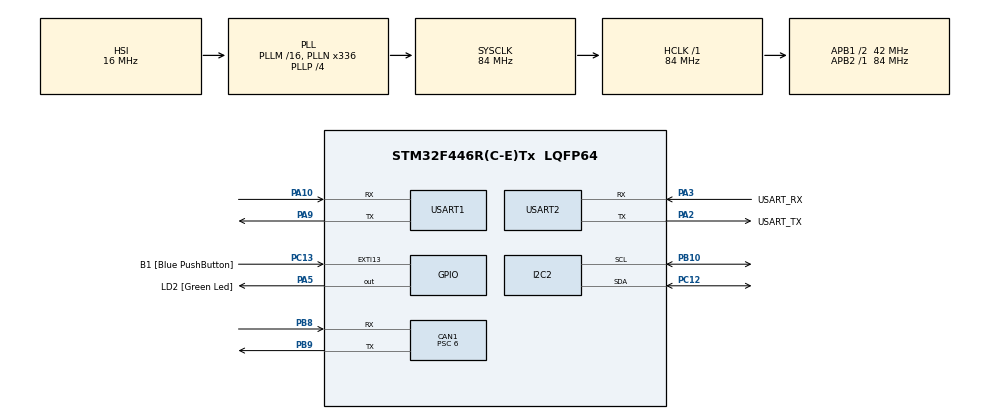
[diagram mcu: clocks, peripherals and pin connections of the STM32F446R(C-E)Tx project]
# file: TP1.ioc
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CAN1.BS1=CAN_BS1_11TQ
CAN1.BS2=CAN_BS2_2TQ
CAN1.CalculateBaudRate=500000
CAN1.CalculateTimeBit=2000
CAN1.CalculateTimeQuantum=142.85714285714286
CAN1.Prescaler=6
Mcu.Family=STM32F4
Mcu.Name=STM32F446R(C-E)Tx
Mcu.Package=LQFP64
NVIC.PriorityGroup=NVIC_PRIORITYGROUP_0
NVIC.USART1_IRQn=true\:0\:0\:false\:false\:true\:true\:true\:true
PA10.Mode=Asynchronous
PA10.Signal=USART1_RX
PA13.GPIO_Label=TMS
PA13.Mode=Serial_Wire
PA13.Signal=SYS_JTMS-SWDIO
PA14.GPIO_Label=TCK
PA14.Mode=Serial_Wire
PA14.Signal=SYS_JTCK-SWCLK
PA2.GPIO_Label=USART_TX
PA2.Mode=Asynchronous
PA2.Signal=USART2_TX
PA3.GPIO_Label=USART_RX
PA3.Mode=Asynchronous
PA3.Signal=USART2_RX
PA5.GPIO_Label=LD2 [Green Led]
PA5.Signal=GPIO_Output
PA9.Mode=Asynchronous
PA9.Signal=USART1_TX
PB10.Mode=I2C
PB10.Signal=I2C2_SCL
PB3.GPIO_Label=SWO
PB3.Signal=SYS_JTDO-SWO
PB8.Mode=CAN_Activate
PB8.Signal=CAN1_RX
PB9.Mode=CAN_Activate
PB9.Signal=CAN1_TX
PC12.Mode=I2C
PC12.Signal=I2C2_SDA
PC13.GPIO_Label=B1 [Blue PushButton]
PC13.GPIO_ModeDefaultEXTI=GPIO_MODE_IT_FALLING
PC13.Signal=GPXTI13
PC14-OSC32_IN.Mode=LSE-External-Oscillator
PC14-OSC32_IN.Signal=RCC_OSC32_IN
PC15-OSC32_OUT.Mode=LSE-External-Oscillator
PC15-OSC32_OUT.Signal=RCC_OSC32_OUT
PH0-OSC_IN.Mode=HSE-External-Oscillator
PH0-OSC_IN.Signal=RCC_OSC_IN
PH1-OSC_OUT.Mode=HSE-External-Oscillator
PH1-OSC_OUT.Signal=RCC_OSC_OUT
ProjectManager.HeapSize=0x200
ProjectManager.StackSize=0x400
ProjectManager.TargetToolchain=STM32CubeIDE
RCC.48MHZClocksFreq_Value=84000000
RCC.AHBFreq_Value=84000000
RCC.APB1CLKDivider=RCC_HCLK_DIV2
RCC.APB1Freq_Value=42000000
RCC.APB1TimFreq_Value=84000000
RCC.APB2Freq_Value=84000000
RCC.APB2TimFreq_Value=84000000
RCC.CortexFreq_Value=84000000
RCC.FLatency-AdvancedSettings=FLASH_LATENCY_2
RCC.HCLKFreq_Value=84000000
RCC.HSE_VALUE=8000000
RCC.HSI_VALUE=16000000
RCC.PLLN=336
RCC.PLLP=RCC_PLLP_DIV4
RCC.SYSCLKFreq_VALUE=84000000
RCC.SYSCLKSource=RCC_SYSCLKSOURCE_PLLCLK
RCC.USBFreq_Value=168000000
RCC.VCOOutputFreq_Value=336000000
USART1.VirtualMode=VM_ASYNC
USART2.VirtualMode=VM_ASYNC
board=NUCLEO-F446RE

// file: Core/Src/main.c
/* USER CODE BEGIN Header */
/**
 ******************************************************************************
 * @file           : main.c
 * @brief          : Main program body
 ******************************************************************************
 * @attention
 *
 * Copyright (c) 2024 STMicroelectronics.
 * All rights reserved.
 *
 * This software is licensed under terms that can be found in the LICENSE file
 * in the root directory of this software component.
 * If no LICENSE file comes with this software, it is provided AS-IS.
 *
 ******************************************************************************
 */
/* USER CODE END Header */
#include "main.h"
#include "can.h"
#include "i2c.h"
#include "usart.h"
#include "gpio.h"

/* USER CODE BEGIN Includes */
#include "BMP280.h"
//#include "MPU9250.h"
#include "string.h"
#include <stdlib.h>
#include <math.h>
#include <stdio.h>
/* USER CODE END Includes */

/* USER CODE BEGIN PD */
#define size_Calib 26
#define MAX_BUFFER_SIZE 100
#define BUFFER_SIZE 64
/* USER CODE END PD */

/* USER CODE BEGIN PV */

char rxBuffer[MAX_BUFFER_SIZE];
char spr_buffer[50];
CAN_TxHeaderTypeDef TxHeader;
uint8_t adresse = 0x77 << 1;
uint8_t data[2];
int16_t x, y, z;
int Tempinit = 26 ;
uint8_t TxData[8]; // Tableau de données pour envoyer des instructions au moteur
uint8_t angle;
uint8_t rxData;
uint8_t data_Calib[size_Calib];
uint8_t buffer[1];
int8_t Val_temp;
//uint8_t Registre = 0xD0;
uint8_t Registre_Masc = 0xF4;
HAL_StatusTypeDef status;
int32_t coefficientK=1 ;
uint32_t TxMailbox;
uint16_t rxIndex = 0;
//char rx_buffer[BUFFER_SIZE];
//volatile uint8_t rx_index = 0;
extern UART_HandleTypeDef huart1;
char command_buffer[BUFFER_SIZE];
char response_buffer[64]; // Pour stocker la réponse à envoyer

#define RX_BUFFER_SIZE 20
volatile char rx_buffer[RX_BUFFER_SIZE]; // Buffer de réception
volatile uint8_t rx_index = 0;           // Index pour remplir le buffer
//uint8_t BMP280_TRIM_REG_MSB = 0x88;
//uint8_t BMP280_TEMP_REG_MSB = 0xFA;
//uint8_t BMP280_PRES_REG_MSB = 0xF7;
/*
uint8_t buffer[1];
HAL_StatusTypeDef status;

uint8_t buf[3];
int32_t  compensatePressure;
uint8_t tab[3];
int32_t Temp, compensateTemperature;

uint8_t data_Calib[size_Calib];
uint8_t data[2];
int16_t x, y, z;

 */
// Configure le registre de contrôle (BMP280_CTRL_MEAS_REG)

/* USER CODE END PV */

void SystemClock_Config(void);

/* USER CODE BEGIN 0 */

//***********Code ACCELEROMETRE**************
void MPU9250_Init() {
	uint8_t  MPU9250_data[2];
	MPU9250_data[0] = 0x6B;     // PWR_MGMT_1
	MPU9250_data[1] = 0x00;     // Activation du  capteur
	// Adresse I2C du MPU= 0x68
	HAL_I2C_Master_Transmit(&hi2c2, 0x68 << 1, data, 2, HAL_MAX_DELAY);

	// Configurer la plage d'accélération à ±4g
	MPU9250_data[0] = 0x1C;     // Adresse du registre ACCEL_CONFIG
	MPU9250_data[1] = 0x08;     // Réglage de la plage à ±4g
	HAL_I2C_Master_Transmit(&hi2c2, 0x68<< 1, data, 2, HAL_MAX_DELAY);
}

void MPU9250_Data(int16_t *x, int16_t *y, int16_t *z) {

	uint8_t reg_ACCEL_XOUT_H = 0x3B;
	uint8_t data_read[6];

	// Envoyer l'adresse du registre de départ
	HAL_I2C_Master_Transmit(&hi2c2, 0x68<< 1, &reg_ACCEL_XOUT_H, 1, HAL_MAX_DELAY);

	// Recevoir les 6 octets de données des axes X, Y, Z
	HAL_I2C_Master_Receive(&hi2c2, 0x68 << 1, data_read, 6, HAL_MAX_DELAY);

	// Construire les valeurs brutes pour chaque axe
	*x = (int16_t)((data_read[0] << 8) | data_read[1]);
	*y = (int16_t)((data_read[2] << 8) | data_read[3]);
	*z = (int16_t)((data_read[4] << 8) | data_read[5]);
}

void Data_Accel(int16_t x, int16_t y, int16_t z) {
	printf("\r\n Acceleration X: %d , Y: %d , Z: %d \r\n", x * 4, y * 4, z * 4);  // ±4g
}

/* USER CODE END 0 */

int main(void)
{

	/* MCU Configuration--------------------------------------------------------*/

	/* Reset of all peripherals, Initializes the Flash interface and the Systick. */
	HAL_Init();

	/* Configure the system clock */
	SystemClock_Config();

	/* Initialize all configured peripherals */
	MX_GPIO_Init();
	MX_USART2_UART_Init();
	MX_I2C2_Init();
	MX_CAN1_Init();
	MX_USART1_UART_Init();
	/* USER CODE BEGIN 2 */
	printf("TESTtp1 Hedia et Hugo \r\n");

	uint8_t buf[1];

	buffer[0] = 0xD0;
	printf("Hello world\r\n");
	if (HAL_I2C_Master_Transmit(&hi2c2, BMP280_adresse, buffer, 1, HAL_MAX_DELAY) != 0) {
		printf("Problem in I2C Transmission\r\n");
	}

	if (HAL_I2C_Master_Receive(&hi2c2, BMP280_adresse, buffer, 1,HAL_MAX_DELAY) != 0) {
		printf("Problem in I2C Reception \r\n");
	}

	printf("Identifiant: 0x%x", buffer[0]);

	if (buf[0] == 0x58) {
		printf("Verification Ok\r\n");

	} else {
		printf("Verification not Ok!\r\n");

	}

	printf("\r\nConfigure BMP280\r\n");
	uint8_t buffer2[3];

	buffer2[0] = 0xF4;
	buffer2[1] = (0b010 << 5) | (0b101 << 2) | (0b11);
	printf("Configure...\r\n");

	if (HAL_I2C_Master_Transmit(&hi2c2, BMP280_adresse, buffer2, 2, HAL_MAX_DELAY) != 0) {
		printf("Problem with I2C Transmit\r\n");
	}

	if (HAL_I2C_Master_Receive(&hi2c2, BMP280_adresse, buffer2, 1, HAL_MAX_DELAY) != 0) {
		printf("Problem with I2C Receive\r\n");
	}

	if (buffer2[0] == buffer2[1]) {
		printf("Verification Ok\r\n");
	} else {
		printf("Verification not Ok!\r\n");
		//return 1;
	}

	//printf("etalonage\r\n");
	BMP280_get_trimming(data_Calib);
	BMP280_Temperateur();
	BMP280_Pression();
	//char[50] reponse[]
	//HAL_UART_Transmit(&huart1, (uint8_t*)response, strlen(response));

	HAL_UART_Receive_IT(&huart1, (uint8_t*)&rx_buffer[rx_index], 1);

	//HAL_Delay(1000);

	printf("\r\n Affichage de MPU \r\n");
	MPU9250_Data(&x, &y, &z);  // ou MPU9250_Read_Raw_Data pour le MPU9250
	Data_Accel(x, y, z);

	// Démarrer le module CAN

	if (HAL_CAN_Start(&hcan1) != HAL_OK)
	{
		printf("erreur CAN\r\n");
		//Gestion d'erreur
		Error_Handler();
	}

	 printf("activation de CAN\r\n");

	//Manuel Mode

	TxHeader.StdId = 0x61;          // ID standard du message
	//TxHeader.ExtId = 0;              // ID étendu non utilisé ici
	TxHeader.IDE = CAN_ID_STD;       // Trame standard
	TxHeader.RTR = CAN_RTR_DATA;     // Trame de données
	TxHeader.DLC = 2;                // Taille des données (1 octet dans ce cas)
	TxHeader.TransmitGlobalTime = DISABLE;

	/*
   TxHeader.StdId = 0x61;          // ID standard du message
   //TxHeader.ExtId = 0;              // ID étendu non utilisé ici
   TxHeader.IDE = CAN_ID_STD;       // Trame standard
   TxHeader.RTR = CAN_RTR_DATA;     // Trame de données
   TxHeader.DLC = 2;                // Taille des données (1 octet dans ce cas)
   TxHeader.TransmitGlobalTime = DISABLE;
	 /*
	/* USER CODE END 2 */

	/* Infinite loop */
	/* USER CODE BEGIN WHILE */
	while (1)
	{

		//mode manuel
/*
	      TxData[0]=90;// sens 1
	  	  HAL_CAN_AddTxMessage(&hcan1, &TxHeader, TxData, &TxMailbox);
	  	  HAL_Delay(1000);

	  	  TxData[0]=0;// sens 2
	  	  HAL_CAN_AddTxMessage(&hcan1, &TxHeader, TxData, &TxMailbox);
	  	  HAL_Delay(1000);

*/
		// calcule d'angle
		  angle = (Tempinit-BMP280_Temperateur())*coefficientK ;
		// TxData[1]=1;

		//calcule vitesse
		/*
	     uint8_t vitesse = BMP280_Temperateur()*0.5;
	     if (vitesse > 255) vitesse = 255;

	     // Préparer les données pour l'envoi sur le bus CAN
	     TxData[0] = vitesse;  // Vitesse du moteur calculée
		 TxData[1]=1;

	 	  HAL_CAN_AddTxMessage(&hcan1, &TxHeader, TxData, &TxMailbox);
	 	  //HAL_Delay(1000);
	       printf("rotation moteur sens1\r\n");

		 */

		Val_temp=BMP280_Temperateur();

		int vitesse = Val_temp * 255;
		printf("angle=%i\r\n",vitesse);

		//TxData[0] =90;// Commande pour déplacer le moteur de 90°

		TxData[1]=1;
		TxData[0]=vitesse;
		HAL_CAN_AddTxMessage(&hcan1, &TxHeader, TxData, &TxMailbox);
		HAL_Delay(1000);
		printf("rotation moteur sens1\r\n");

		 printf("==============Raspberry ===============\r\n");
		 HAL_UART_Receive_IT(&huart1, (uint8_t*)&rx_buffer[rx_index], 1);

		/*
	 else{
	      TxData[0]=-angle;
	      HAL_CAN_AddTxMessage(&hcan1, &TxHeader, TxData, &TxMailbox);
	      //HAL_Delay(1000);
	      printf("rotation moteur sens2\r\n");
	    }
		 */
		/* USER CODE END WHILE */

	}
}

void SystemClock_Config(void)
{
	RCC_OscInitTypeDef RCC_OscInitStruct = {0};
	RCC_ClkInitTypeDef RCC_ClkInitStruct = {0};

	/** Configure the main internal regulator output voltage
	 */
	__HAL_RCC_PWR_CLK_ENABLE();
	__HAL_PWR_VOLTAGESCALING_CONFIG(PWR_REGULATOR_VOLTAGE_SCALE3);

	/** Initializes the RCC Oscillators according to the specified parameters
	 * in the RCC_OscInitTypeDef structure.
	 */
	RCC_OscInitStruct.OscillatorType = RCC_OSCILLATORTYPE_HSI;
	RCC_OscInitStruct.HSIState = RCC_HSI_ON;
	RCC_OscInitStruct.HSICalibrationValue = RCC_HSICALIBRATION_DEFAULT;
	RCC_OscInitStruct.PLL.PLLState = RCC_PLL_ON;
	RCC_OscInitStruct.PLL.PLLSource = RCC_PLLSOURCE_HSI;
	RCC_OscInitStruct.PLL.PLLM = 16;
	RCC_OscInitStruct.PLL.PLLN = 336;
	RCC_OscInitStruct.PLL.PLLP = RCC_PLLP_DIV4;
	RCC_OscInitStruct.PLL.PLLQ = 2;
	RCC_OscInitStruct.PLL.PLLR = 2;
	if (HAL_RCC_OscConfig(&RCC_OscInitStruct) != HAL_OK)
	{
		Error_Handler();
	}

	/** Initializes the CPU, AHB and APB buses clocks
	 */
	RCC_ClkInitStruct.ClockType = RCC_CLOCKTYPE_HCLK|RCC_CLOCKTYPE_SYSCLK
			|RCC_CLOCKTYPE_PCLK1|RCC_CLOCKTYPE_PCLK2;
	RCC_ClkInitStruct.SYSCLKSource = RCC_SYSCLKSOURCE_PLLCLK;
	RCC_ClkInitStruct.AHBCLKDivider = RCC_SYSCLK_DIV1;
	RCC_ClkInitStruct.APB1CLKDivider = RCC_HCLK_DIV2;
	RCC_ClkInitStruct.APB2CLKDivider = RCC_HCLK_DIV1;

	if (HAL_RCC_ClockConfig(&RCC_ClkInitStruct, FLASH_LATENCY_2) != HAL_OK)
	{
		Error_Handler();
	}
}

/* USER CODE BEGIN 4 */

void HAL_UART_RxCpltCallback(UART_HandleTypeDef *huart) {
    if (huart->Instance == USART1) { // Vérifier si l'interruption est pour USART2
        if (rx_buffer[rx_index] == '\r') { // Commande terminée (fin de ligne)
            //rx_buffer[rx_index] = '\0'; // Ajouter un caractère de fin de chaîne
            handle_command((char*)rx_buffer); // Appeler la fonction pour traiter la commande
            rx_index = 0; // Réinitialiser l'index pour la prochaine commande
        } else {
            // Incrémenter l'index et assurer qu'il reste dans les limites du buffer
        	HAL_UART_Transmit(&huart1, (uint8_t*)&rx_buffer[rx_index], 1,HAL_MAX_DELAY);
            rx_index = rx_index + 1;

        }

        // Relancer la réception pour le prochain caractère
        HAL_UART_Receive_IT(&huart1, (uint8_t*)&rx_buffer[rx_index], 1);

    }
}

void handle_command(char *command) {
    char tx_buffer[50];

    if (strncmp(command, "GET_T", 5) == 0) {
        snprintf(tx_buffer, sizeof(tx_buffer), "T=%ld °C r\\n", BMP280_Temperateur());
    }
    else if (strncmp(command, "GET_P", 5) == 0) {
        snprintf(tx_buffer, sizeof(tx_buffer), "%ld hPa r\\n",BMP280_Pression());
    }
    else if (strncmp(command, "SET_K=%i", 6) == 0) {
        snprintf(tx_buffer, sizeof(tx_buffer), "SET_K=OK\n");
    }
    else if (strncmp(command, "GET_K", 5) == 0) {
        snprintf(tx_buffer, sizeof(tx_buffer), "K=12.3400\n");
    }
    else if (strncmp(command, "GET_A", 5) == 0) {
        snprintf(tx_buffer, sizeof(tx_buffer), "A=125.7000\n");
    }
    else {
        snprintf(tx_buffer, sizeof(tx_buffer), "Erreur: Commande inconnue\n");
    }

    // Envoyer la réponse via UART
    HAL_UART_Transmit(&huart1, (uint8_t*)tx_buffer, strlen(tx_buffer), HAL_MAX_DELAY);
}

/* USER CODE END 4 */

void Error_Handler(void)
{
	__disable_irq();
	while (1)
	{
	}
}
